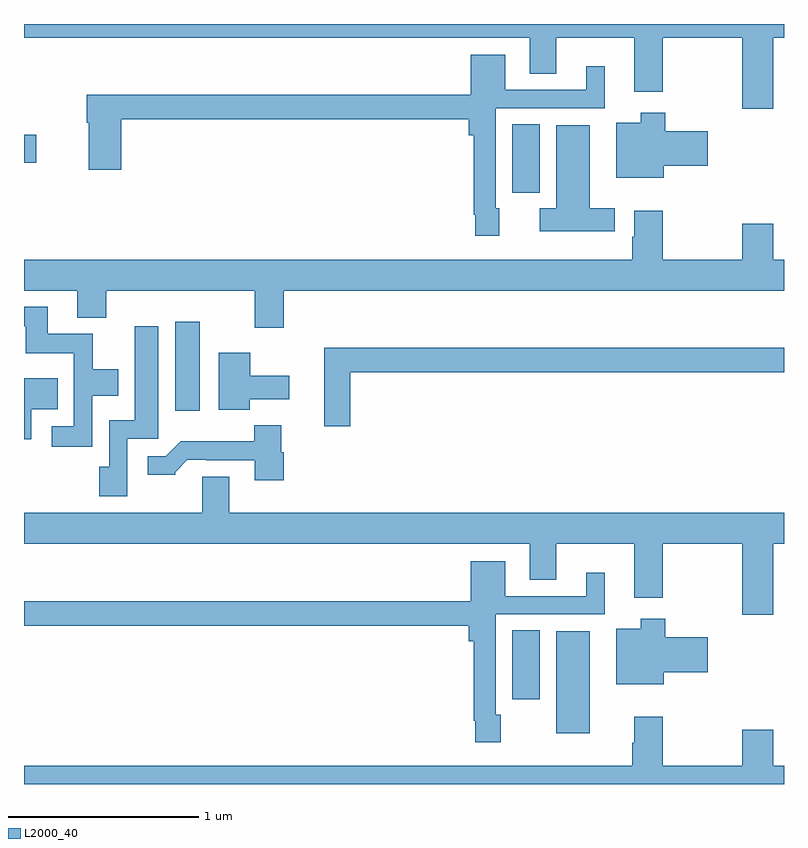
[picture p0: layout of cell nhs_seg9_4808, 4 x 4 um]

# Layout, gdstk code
import gdstk
lib = gdstk.Library(unit=1e-6, precision=1e-09)
def R(c, l, rs):  # rectangles x0, y0, x1, y1
    for r in rs: c.add(gdstk.rectangle(r[:2], r[2:], *l))
def P(c, l, *ps):  # polygons
    for p in ps: c.add(gdstk.Polygon(p, *l))
L2000_40 = (2000, 40)

nhs_seg9_4808 = lib.new_cell('nhs_seg9_4808')
R(nhs_seg9_4808, L2000_40, [(391.802,1184.768,391.978,1185.304), (391.571,1184.946,391.714,1185.308), (389.795,1186.464,389.926,1186.933), (391.571,1187.611,391.714,1187.972), (389,1187.771,389.065,1187.918)])
P(nhs_seg9_4808, L2000_40, [(392.944,1188.428),(393,1188.428),(393,1188.5),(389,1188.5),(389,1188.428),(391.661,1188.428),(391.661,1188.238),(391.801,1188.238),(391.801,1188.428),(392.213,1188.428),(392.213,1188.144),(392.361,1188.144),(392.361,1188.428),(392.78,1188.428),(392.78,1188.054),(392.944,1188.054)],
  [(391.501,1187.529),(391.482,1187.529),(391.482,1188.057),(392.056,1188.057),(392.056,1188.277),(391.958,1188.277),(391.958,1188.153),(391.534,1188.153),(391.534,1188.337),(391.352,1188.337),(391.352,1188.127),(389.33,1188.127),(389.33,1187.981),(389.342,1187.981),(389.342,1187.733),(389.513,1187.733),(389.513,1187.998),(391.34,1187.998),(391.34,1187.915),(391.366,1187.915),(391.366,1187.497),(391.374,1187.497),(391.374,1187.385),(391.501,1187.385)],
  [(392.368,1187.753),(392.599,1187.753),(392.599,1187.936),(392.376,1187.936),(392.376,1188.034),(392.246,1188.034),(392.246,1187.98),(392.117,1187.98),(392.117,1187.69),(392.368,1187.69)],
  [(392.11,1187.53),(391.978,1187.53),(391.978,1187.968),(391.802,1187.968),(391.802,1187.53),(391.714,1187.53),(391.714,1187.408),(392.11,1187.408)],
  [(390.368,1187.096),(393,1187.096),(393,1187.26),(392.944,1187.26),(392.944,1187.449),(392.78,1187.449),(392.78,1187.26),(392.361,1187.26),(392.361,1187.518),(392.213,1187.518),(392.213,1187.381),(392.201,1187.381),(392.201,1187.26),(389,1187.26),(389,1187.096),(389.279,1187.096),(389.279,1186.955),(389.432,1186.955),(389.432,1187.096),(390.215,1187.096),(390.215,1186.902),(390.368,1186.902)],
  [(389.358,1186.544),(389.497,1186.544),(389.497,1186.684),(389.361,1186.684),(389.361,1186.87),(389.125,1186.87),(389.125,1187.011),(389,1187.011),(389,1186.908),(389.009,1186.908),(389.009,1186.766),(389.262,1186.766),(389.262,1186.383),(389.145,1186.383),(389.145,1186.275),(389.358,1186.275)],
  [(389.544,1186.317),(389.707,1186.317),(389.707,1186.909),(389.582,1186.909),(389.582,1186.414),(389.448,1186.414),(389.448,1186.17),(389.396,1186.17),(389.396,1186.014),(389.544,1186.014)],
  [(390.716,1186.666),(393,1186.666),(393,1186.795),(390.581,1186.795),(390.581,1186.383),(390.716,1186.383)],
  [(390.188,1186.526),(390.397,1186.526),(390.397,1186.648),(390.19,1186.648),(390.19,1186.771),(390.026,1186.771),(390.026,1186.469),(390.188,1186.469)],
  [(389.038,1186.472),(389.177,1186.472),(389.177,1186.636),(389,1186.636),(389,1186.315),(389.038,1186.315)],
  [(390.368,1186.245),(390.355,1186.245),(390.355,1186.387),(390.213,1186.387),(390.213,1186.303),(389.824,1186.303),(389.745,1186.224),(389.652,1186.224),(389.652,1186.127),(389.796,1186.127),(389.796,1186.142),(389.86,1186.206),(389.959,1186.206),(389.959,1186.203),(390.215,1186.203),(390.215,1186.098),(390.368,1186.098)],
  [(392.944,1185.764),(393,1185.764),(393,1185.928),(390.079,1185.928),(390.079,1186.118),(389.939,1186.118),(389.939,1185.928),(389,1185.928),(389,1185.764),(391.661,1185.764),(391.661,1185.574),(391.801,1185.574),(391.801,1185.764),(392.213,1185.764),(392.213,1185.48),(392.361,1185.48),(392.361,1185.764),(392.78,1185.764),(392.78,1185.39),(392.944,1185.39)],
  [(391.509,1184.865),(391.482,1184.865),(391.482,1185.393),(392.056,1185.393),(392.056,1185.613),(391.958,1185.613),(391.958,1185.489),(391.534,1185.489),(391.534,1185.673),(391.352,1185.673),(391.352,1185.463),(389,1185.463),(389,1185.334),(391.34,1185.334),(391.34,1185.251),(391.366,1185.251),(391.366,1184.833),(391.374,1184.833),(391.374,1184.721),(391.509,1184.721)],
  [(392.368,1185.089),(392.599,1185.089),(392.599,1185.272),(392.376,1185.272),(392.376,1185.37),(392.246,1185.37),(392.246,1185.316),(392.117,1185.316),(392.117,1185.026),(392.368,1185.026)],
  [(393,1184.596),(392.944,1184.596),(392.944,1184.785),(392.78,1184.785),(392.78,1184.596),(392.361,1184.596),(392.361,1184.854),(392.213,1184.854),(392.213,1184.717),(392.201,1184.717),(392.201,1184.596),(389,1184.596),(389,1184.5),(393,1184.5)])

lib.write_gds('nhs_seg9_4808.gds')
